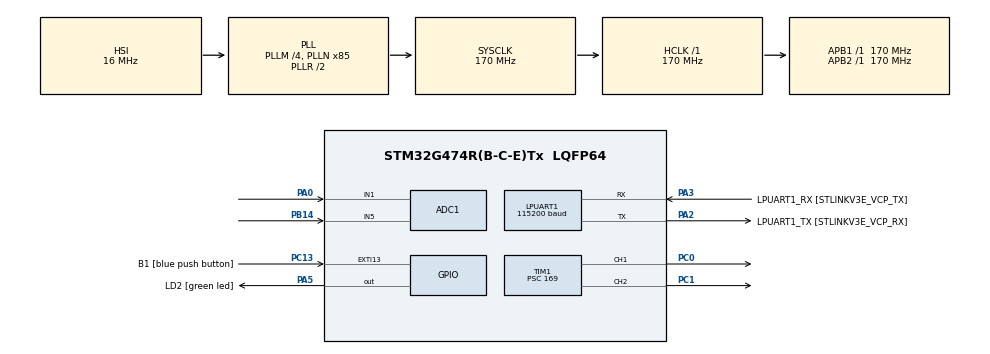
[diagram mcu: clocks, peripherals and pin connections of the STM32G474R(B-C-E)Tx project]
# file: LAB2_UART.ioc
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ADC1.Channel-4\#ChannelRegularConversion=ADC_CHANNEL_1
ADC1.Channel-5\#ChannelRegularConversion=ADC_CHANNEL_5
ADC1.NbrOfConversion=2
ADC1.NbrOfConversionFlag=1
ADC1.OffsetNumber-4\#ChannelRegularConversion=ADC_OFFSET_NONE
ADC1.OffsetNumber-5\#ChannelRegularConversion=ADC_OFFSET_NONE
ADC1.Rank-4\#ChannelRegularConversion=1
ADC1.Rank-5\#ChannelRegularConversion=2
ADC1.SamplingTime-4\#ChannelRegularConversion=ADC_SAMPLETIME_640CYCLES_5
ADC1.SamplingTime-5\#ChannelRegularConversion=ADC_SAMPLETIME_640CYCLES_5
ADC1.master=1
LPUART1.BaudRate=115200
LPUART1.WordLength=UART_WORDLENGTH_8B
Mcu.Family=STM32G4
Mcu.Name=STM32G474R(B-C-E)Tx
Mcu.Package=LQFP64
NVIC.EXTI15_10_IRQn=true\:0\:0\:false\:false\:true\:true\:true\:true
NVIC.LPUART1_IRQn=true\:0\:0\:false\:false\:true\:true\:true\:true
NVIC.PriorityGroup=NVIC_PRIORITYGROUP_4
NVIC.TIM5_IRQn=true\:0\:0\:false\:false\:true\:true\:true\:true
PA0.Mode=IN1-Single-Ended
PA0.Signal=ADC1_IN1
PA13.GPIO_Label=T_SWDIO
PA13.Mode=Serial_Wire
PA13.Signal=SYS_JTMS-SWDIO
PA14.GPIO_Label=T_SWCLK
PA14.Mode=Serial_Wire
PA14.Signal=SYS_JTCK-SWCLK
PA2.GPIO_Label=LPUART1_TX [STLINKV3E_VCP_RX]
PA2.Mode=Asynchronous
PA2.Signal=LPUART1_TX
PA3.GPIO_Label=LPUART1_RX [STLINKV3E_VCP_TX]
PA3.Mode=Asynchronous
PA3.Signal=LPUART1_RX
PA5.GPIO_Label=LD2 [green led]
PA5.Signal=GPIO_Output
PB14.Mode=IN5-Single-Ended
PB14.Signal=ADC1_IN5
PB3.GPIO_Label=T_SWO
PB3.Signal=SYS_JTDO-SWO
PC0.Signal=S_TIM1_CH1
PC1.Signal=S_TIM1_CH2
PC13.GPIO_Label=B1 [blue push button]
PC13.Signal=GPXTI13
PC14-OSC32_IN.Mode=LSE-External-Oscillator
PC14-OSC32_IN.Signal=RCC_OSC32_IN
PC15-OSC32_OUT.Mode=LSE-External-Oscillator
PC15-OSC32_OUT.Signal=RCC_OSC32_OUT
PF0-OSC_IN.Mode=HSE-External-Oscillator
PF0-OSC_IN.Signal=RCC_OSC_IN
PF1-OSC_OUT.Mode=HSE-External-Oscillator
PF1-OSC_OUT.Signal=RCC_OSC_OUT
ProjectManager.HeapSize=0x200
ProjectManager.StackSize=0x400
ProjectManager.TargetToolchain=STM32CubeIDE
RCC.ADC12Freq_Value=170000000
RCC.ADC345Freq_Value=170000000
RCC.AHBFreq_Value=170000000
RCC.APB1Freq_Value=170000000
RCC.APB1TimFreq_Value=170000000
RCC.APB2Freq_Value=170000000
RCC.APB2TimFreq_Value=170000000
RCC.CortexFreq_Value=170000000
RCC.EXTERNAL_CLOCK_VALUE=12288000
RCC.HCLKFreq_Value=170000000
RCC.HSE_VALUE=24000000
RCC.HSI48_VALUE=48000000
RCC.HSI_VALUE=16000000
RCC.PLLM=RCC_PLLM_DIV4
RCC.PLLN=85
RCC.RTCClockSelection=RCC_RTCCLKSOURCE_LSE
RCC.SYSCLKFreq_VALUE=170000000
RCC.SYSCLKSource=RCC_SYSCLKSOURCE_PLLCLK
RCC.USBFreq_Value=170000000
RCC.VCOOutputFreq_Value=340000000
SH.S_TIM1_CH1.0=TIM1_CH1,PWM Generation1 CH1
SH.S_TIM1_CH2.0=TIM1_CH2,PWM Generation2 CH2
TIM1.Channel-PWM\ Generation1\ CH1=TIM_CHANNEL_1
TIM1.Channel-PWM\ Generation2\ CH2=TIM_CHANNEL_2
TIM1.PeriodNoDither=32675
TIM1.Prescaler=169
TIM5.Prescaler=169
VP_SYS_VS_DBSignals.Mode=DisableDeadBatterySignals
VP_TIM1_VS_ClockSourceINT.Mode=Internal
VP_TIM5_VS_ClockSourceINT.Mode=Internal
board=NUCLEO-G474RE

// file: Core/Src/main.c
/* USER CODE BEGIN Header */
/**
  ******************************************************************************
  * @file           : main.c
  * @brief          : Main program body
  ******************************************************************************
  * @attention
  *
  * Copyright (c) 2024 STMicroelectronics.
  * All rights reserved.
  *
  * This software is licensed under terms that can be found in the LICENSE file
  * in the root directory of this software component.
  * If no LICENSE file comes with this software, it is provided AS-IS.
  *
  ******************************************************************************
  */
/* USER CODE END Header */
#include "main.h"

/* USER CODE BEGIN Includes */
#include "stdio.h"
#include "string.h"
/* USER CODE END Includes */

ADC_HandleTypeDef hadc1;

UART_HandleTypeDef hlpuart1;

TIM_HandleTypeDef htim1;
TIM_HandleTypeDef htim5;

/* USER CODE BEGIN PV */
//uint16_t ADC_RawRead[40] = {0};
//int ADC_sum[1] = {0};
uint16_t ADC_avg[1] = {0};
uint8_t ADCBytes[4];
uint16_t datasend;
int Degree_position = 0;
int Rad_position = 0;
uint8_t Recieve_PWM[5];
int16_t PWM1 = 0;
int PWM2 = 0;
uint64_t _micros = 0;
float setposition=0;
int poten1=0;
int poten2=0;
float position=0;
float error = 0;
float  FEEDBACK=0;
float speed;

struct _ADC_tag
{
ADC_ChannelConfTypeDef Config;
uint16_t data;
};
struct _ADC_tag ADC1_Channel[2] =
{
{
.Config.Channel = ADC_CHANNEL_1,
.Config.Rank = ADC_REGULAR_RANK_1,
.Config.SamplingTime = ADC_SAMPLETIME_640CYCLES_5,
.Config.SingleDiff = ADC_SINGLE_ENDED,
.Config.OffsetNumber = ADC_OFFSET_NONE,
.Config.Offset = 0,
.data = 0
},
{
.Config.Channel = ADC_CHANNEL_5,
.Config.Rank = ADC_REGULAR_RANK_2,
.Config.SamplingTime = ADC_SAMPLETIME_640CYCLES_5,
.Config.SingleDiff = ADC_SINGLE_ENDED,
.Config.OffsetNumber = ADC_OFFSET_NONE,
.Config.Offset = 0,
.data = 0
},
};
/* USER CODE END PV */

void SystemClock_Config(void);
static void MX_GPIO_Init(void);
static void MX_LPUART1_UART_Init(void);
static void MX_ADC1_Init(void);
static void MX_TIM1_Init(void);
static void MX_TIM5_Init(void);
/* USER CODE BEGIN PFP */
void ADC_Read_blocking();
void avg();
void UARTInterruptConfig();
uint64_t micros();
//void ADC_Read_blocking();
/* USER CODE END PFP */

int main(void)
{

  /* MCU Configuration--------------------------------------------------------*/

  /* Reset of all peripherals, Initializes the Flash interface and the Systick. */
  HAL_Init();

  /* Configure the system clock */
  SystemClock_Config();

  /* Initialize all configured peripherals */
  MX_GPIO_Init();
  MX_LPUART1_UART_Init();
  MX_ADC1_Init();
  MX_TIM1_Init();
  MX_TIM5_Init();
  /* USER CODE BEGIN 2 */
  HAL_ADCEx_Calibration_Start(&hadc1, ADC_SINGLE_ENDED);

  HAL_TIM_Base_Start(&htim1);
  HAL_TIM_PWM_Start(&htim1, TIM_CHANNEL_1);
  HAL_TIM_PWM_Start(&htim1, TIM_CHANNEL_2);
  UARTInterruptConfig();
  HAL_TIM_Base_Start_IT(&htim5);

  /* USER CODE END 2 */

  /* Infinite loop */
  while (1)
  {

    /* USER CODE BEGIN 3 */
	  ADC_Read_blocking();
	  avg();
	  error = 2048.0 - position;
	  ADC_avg[0] = position;
	  datasend=ADC_avg[0];

	  static uint64_t timestamp = 0;
	  uint64_t currentTime = micros();

	  if(currentTime > timestamp)
	  {
		  timestamp = currentTime + 5000; //us 200 Hz
		  datasend = ADC_avg[0];

		  ADCBytes[0] = 0x45; //Header
		  ADCBytes[1] = (uint8_t)(datasend & 0xFF); // Lower byte
		  ADCBytes[2] = (uint8_t)((datasend >> 8) & 0xFF); // Upper byte
		  ADCBytes[3] = 0x0A; //Terminater

		  HAL_UART_Transmit(&hlpuart1, ADCBytes , sizeof(ADCBytes), 10);
	  }
	  UARTInterruptConfig();
	  Degree_position = (datasend*360.0)/4095.0;
	  Rad_position = (datasend*3.14)/4095.0;
	  PWM1 = (int16_t)(Recieve_PWM[2]<< 8) + Recieve_PWM[1];
	  FEEDBACK =PWM1;
	  PWM2 = (int16_t)((PWM1*65535)/4095);

	  if(error > 0)
	  {

		  __HAL_TIM_SET_COMPARE(&htim1, TIM_CHANNEL_1,0);
		  __HAL_TIM_SET_COMPARE(&htim1, TIM_CHANNEL_2,PWM1);
	  }
	  else if(error < 0)
	  {

		  __HAL_TIM_SET_COMPARE(&htim1, TIM_CHANNEL_1, PWM1);
		  __HAL_TIM_SET_COMPARE(&htim1, TIM_CHANNEL_2, 0);
	  }
	  else if(error==0 )
	  	  {
	  		  __HAL_TIM_SET_COMPARE(&htim1, TIM_CHANNEL_1, 0);
	  		  __HAL_TIM_SET_COMPARE(&htim1, TIM_CHANNEL_2, 0);
	  	  }
  }
  /* USER CODE END 3 */
}

void SystemClock_Config(void)
{
  RCC_OscInitTypeDef RCC_OscInitStruct = {0};
  RCC_ClkInitTypeDef RCC_ClkInitStruct = {0};

  /** Configure the main internal regulator output voltage
  */
  HAL_PWREx_ControlVoltageScaling(PWR_REGULATOR_VOLTAGE_SCALE1_BOOST);

  /** Initializes the RCC Oscillators according to the specified parameters
  * in the RCC_OscInitTypeDef structure.
  */
  RCC_OscInitStruct.OscillatorType = RCC_OSCILLATORTYPE_HSI;
  RCC_OscInitStruct.HSIState = RCC_HSI_ON;
  RCC_OscInitStruct.HSICalibrationValue = RCC_HSICALIBRATION_DEFAULT;
  RCC_OscInitStruct.PLL.PLLState = RCC_PLL_ON;
  RCC_OscInitStruct.PLL.PLLSource = RCC_PLLSOURCE_HSI;
  RCC_OscInitStruct.PLL.PLLM = RCC_PLLM_DIV4;
  RCC_OscInitStruct.PLL.PLLN = 85;
  RCC_OscInitStruct.PLL.PLLP = RCC_PLLP_DIV2;
  RCC_OscInitStruct.PLL.PLLQ = RCC_PLLQ_DIV2;
  RCC_OscInitStruct.PLL.PLLR = RCC_PLLR_DIV2;
  if (HAL_RCC_OscConfig(&RCC_OscInitStruct) != HAL_OK)
  {
    Error_Handler();
  }

  /** Initializes the CPU, AHB and APB buses clocks
  */
  RCC_ClkInitStruct.ClockType = RCC_CLOCKTYPE_HCLK|RCC_CLOCKTYPE_SYSCLK
                              |RCC_CLOCKTYPE_PCLK1|RCC_CLOCKTYPE_PCLK2;
  RCC_ClkInitStruct.SYSCLKSource = RCC_SYSCLKSOURCE_PLLCLK;
  RCC_ClkInitStruct.AHBCLKDivider = RCC_SYSCLK_DIV1;
  RCC_ClkInitStruct.APB1CLKDivider = RCC_HCLK_DIV1;
  RCC_ClkInitStruct.APB2CLKDivider = RCC_HCLK_DIV1;

  if (HAL_RCC_ClockConfig(&RCC_ClkInitStruct, FLASH_LATENCY_4) != HAL_OK)
  {
    Error_Handler();
  }
}

static void MX_ADC1_Init(void)
{

  ADC_MultiModeTypeDef multimode = {0};
  ADC_ChannelConfTypeDef sConfig = {0};

  /** Common config
  */
  hadc1.Instance = ADC1;
  hadc1.Init.ClockPrescaler = ADC_CLOCK_SYNC_PCLK_DIV4;
  hadc1.Init.Resolution = ADC_RESOLUTION_12B;
  hadc1.Init.DataAlign = ADC_DATAALIGN_RIGHT;
  hadc1.Init.GainCompensation = 0;
  hadc1.Init.ScanConvMode = ADC_SCAN_ENABLE;
  hadc1.Init.EOCSelection = ADC_EOC_SINGLE_CONV;
  hadc1.Init.LowPowerAutoWait = DISABLE;
  hadc1.Init.ContinuousConvMode = DISABLE;
  hadc1.Init.NbrOfConversion = 2;
  hadc1.Init.DiscontinuousConvMode = DISABLE;
  hadc1.Init.ExternalTrigConv = ADC_SOFTWARE_START;
  hadc1.Init.ExternalTrigConvEdge = ADC_EXTERNALTRIGCONVEDGE_NONE;
  hadc1.Init.DMAContinuousRequests = DISABLE;
  hadc1.Init.Overrun = ADC_OVR_DATA_PRESERVED;
  hadc1.Init.OversamplingMode = DISABLE;
  if (HAL_ADC_Init(&hadc1) != HAL_OK)
  {
    Error_Handler();
  }

  /** Configure the ADC multi-mode
  */
  multimode.Mode = ADC_MODE_INDEPENDENT;
  if (HAL_ADCEx_MultiModeConfigChannel(&hadc1, &multimode) != HAL_OK)
  {
    Error_Handler();
  }

  /** Configure Regular Channel
  */
  sConfig.Channel = ADC_CHANNEL_1;
  sConfig.Rank = ADC_REGULAR_RANK_1;
  sConfig.SamplingTime = ADC_SAMPLETIME_640CYCLES_5;
  sConfig.SingleDiff = ADC_SINGLE_ENDED;
  sConfig.OffsetNumber = ADC_OFFSET_NONE;
  sConfig.Offset = 0;
  if (HAL_ADC_ConfigChannel(&hadc1, &sConfig) != HAL_OK)
  {
    Error_Handler();
  }

  /** Configure Regular Channel
  */
  sConfig.Channel = ADC_CHANNEL_5;
  sConfig.Rank = ADC_REGULAR_RANK_2;
  if (HAL_ADC_ConfigChannel(&hadc1, &sConfig) != HAL_OK)
  {
    Error_Handler();
  }

}

static void MX_LPUART1_UART_Init(void)
{

  hlpuart1.Instance = LPUART1;
  hlpuart1.Init.BaudRate = 115200;
  hlpuart1.Init.WordLength = UART_WORDLENGTH_8B;
  hlpuart1.Init.StopBits = UART_STOPBITS_1;
  hlpuart1.Init.Parity = UART_PARITY_NONE;
  hlpuart1.Init.Mode = UART_MODE_TX_RX;
  hlpuart1.Init.HwFlowCtl = UART_HWCONTROL_NONE;
  hlpuart1.Init.OneBitSampling = UART_ONE_BIT_SAMPLE_DISABLE;
  hlpuart1.Init.ClockPrescaler = UART_PRESCALER_DIV1;
  hlpuart1.AdvancedInit.AdvFeatureInit = UART_ADVFEATURE_NO_INIT;
  if (HAL_UART_Init(&hlpuart1) != HAL_OK)
  {
    Error_Handler();
  }
  if (HAL_UARTEx_SetTxFifoThreshold(&hlpuart1, UART_TXFIFO_THRESHOLD_1_8) != HAL_OK)
  {
    Error_Handler();
  }
  if (HAL_UARTEx_SetRxFifoThreshold(&hlpuart1, UART_RXFIFO_THRESHOLD_1_8) != HAL_OK)
  {
    Error_Handler();
  }
  if (HAL_UARTEx_DisableFifoMode(&hlpuart1) != HAL_OK)
  {
    Error_Handler();
  }

}

static void MX_TIM1_Init(void)
{

  TIM_ClockConfigTypeDef sClockSourceConfig = {0};
  TIM_MasterConfigTypeDef sMasterConfig = {0};
  TIM_OC_InitTypeDef sConfigOC = {0};
  TIM_BreakDeadTimeConfigTypeDef sBreakDeadTimeConfig = {0};

  htim1.Instance = TIM1;
  htim1.Init.Prescaler = 169;
  htim1.Init.CounterMode = TIM_COUNTERMODE_UP;
  htim1.Init.Period = 32675;
  htim1.Init.ClockDivision = TIM_CLOCKDIVISION_DIV1;
  htim1.Init.RepetitionCounter = 0;
  htim1.Init.AutoReloadPreload = TIM_AUTORELOAD_PRELOAD_DISABLE;
  if (HAL_TIM_Base_Init(&htim1) != HAL_OK)
  {
    Error_Handler();
  }
  sClockSourceConfig.ClockSource = TIM_CLOCKSOURCE_INTERNAL;
  if (HAL_TIM_ConfigClockSource(&htim1, &sClockSourceConfig) != HAL_OK)
  {
    Error_Handler();
  }
  if (HAL_TIM_PWM_Init(&htim1) != HAL_OK)
  {
    Error_Handler();
  }
  sMasterConfig.MasterOutputTrigger = TIM_TRGO_RESET;
  sMasterConfig.MasterOutputTrigger2 = TIM_TRGO2_RESET;
  sMasterConfig.MasterSlaveMode = TIM_MASTERSLAVEMODE_DISABLE;
  if (HAL_TIMEx_MasterConfigSynchronization(&htim1, &sMasterConfig) != HAL_OK)
  {
    Error_Handler();
  }
  sConfigOC.OCMode = TIM_OCMODE_PWM1;
  sConfigOC.Pulse = 0;
  sConfigOC.OCPolarity = TIM_OCPOLARITY_HIGH;
  sConfigOC.OCNPolarity = TIM_OCNPOLARITY_HIGH;
  sConfigOC.OCFastMode = TIM_OCFAST_DISABLE;
  sConfigOC.OCIdleState = TIM_OCIDLESTATE_RESET;
  sConfigOC.OCNIdleState = TIM_OCNIDLESTATE_RESET;
  if (HAL_TIM_PWM_ConfigChannel(&htim1, &sConfigOC, TIM_CHANNEL_1) != HAL_OK)
  {
    Error_Handler();
  }
  if (HAL_TIM_PWM_ConfigChannel(&htim1, &sConfigOC, TIM_CHANNEL_2) != HAL_OK)
  {
    Error_Handler();
  }
  sBreakDeadTimeConfig.OffStateRunMode = TIM_OSSR_DISABLE;
  sBreakDeadTimeConfig.OffStateIDLEMode = TIM_OSSI_DISABLE;
  sBreakDeadTimeConfig.LockLevel = TIM_LOCKLEVEL_OFF;
  sBreakDeadTimeConfig.DeadTime = 0;
  sBreakDeadTimeConfig.BreakState = TIM_BREAK_DISABLE;
  sBreakDeadTimeConfig.BreakPolarity = TIM_BREAKPOLARITY_HIGH;
  sBreakDeadTimeConfig.BreakFilter = 0;
  sBreakDeadTimeConfig.BreakAFMode = TIM_BREAK_AFMODE_INPUT;
  sBreakDeadTimeConfig.Break2State = TIM_BREAK2_DISABLE;
  sBreakDeadTimeConfig.Break2Polarity = TIM_BREAK2POLARITY_HIGH;
  sBreakDeadTimeConfig.Break2Filter = 0;
  sBreakDeadTimeConfig.Break2AFMode = TIM_BREAK_AFMODE_INPUT;
  sBreakDeadTimeConfig.AutomaticOutput = TIM_AUTOMATICOUTPUT_DISABLE;
  if (HAL_TIMEx_ConfigBreakDeadTime(&htim1, &sBreakDeadTimeConfig) != HAL_OK)
  {
    Error_Handler();
  }
  HAL_TIM_MspPostInit(&htim1);

}

static void MX_TIM5_Init(void)
{

  TIM_ClockConfigTypeDef sClockSourceConfig = {0};
  TIM_MasterConfigTypeDef sMasterConfig = {0};

  htim5.Instance = TIM5;
  htim5.Init.Prescaler = 169;
  htim5.Init.CounterMode = TIM_COUNTERMODE_UP;
  htim5.Init.Period = 4294967295;
  htim5.Init.ClockDivision = TIM_CLOCKDIVISION_DIV1;
  htim5.Init.AutoReloadPreload = TIM_AUTORELOAD_PRELOAD_DISABLE;
  if (HAL_TIM_Base_Init(&htim5) != HAL_OK)
  {
    Error_Handler();
  }
  sClockSourceConfig.ClockSource = TIM_CLOCKSOURCE_INTERNAL;
  if (HAL_TIM_ConfigClockSource(&htim5, &sClockSourceConfig) != HAL_OK)
  {
    Error_Handler();
  }
  sMasterConfig.MasterOutputTrigger = TIM_TRGO_RESET;
  sMasterConfig.MasterSlaveMode = TIM_MASTERSLAVEMODE_DISABLE;
  if (HAL_TIMEx_MasterConfigSynchronization(&htim5, &sMasterConfig) != HAL_OK)
  {
    Error_Handler();
  }

}

static void MX_GPIO_Init(void)
{
  GPIO_InitTypeDef GPIO_InitStruct = {0};

  /* GPIO Ports Clock Enable */
  __HAL_RCC_GPIOC_CLK_ENABLE();
  __HAL_RCC_GPIOF_CLK_ENABLE();
  __HAL_RCC_GPIOA_CLK_ENABLE();
  __HAL_RCC_GPIOB_CLK_ENABLE();

  /*Configure GPIO pin Output Level */
  HAL_GPIO_WritePin(LD2_GPIO_Port, LD2_Pin, GPIO_PIN_RESET);

  /*Configure GPIO pin : B1_Pin */
  GPIO_InitStruct.Pin = B1_Pin;
  GPIO_InitStruct.Mode = GPIO_MODE_IT_RISING;
  GPIO_InitStruct.Pull = GPIO_NOPULL;
  HAL_GPIO_Init(B1_GPIO_Port, &GPIO_InitStruct);

  /*Configure GPIO pin : LD2_Pin */
  GPIO_InitStruct.Pin = LD2_Pin;
  GPIO_InitStruct.Mode = GPIO_MODE_OUTPUT_PP;
  GPIO_InitStruct.Pull = GPIO_NOPULL;
  GPIO_InitStruct.Speed = GPIO_SPEED_FREQ_LOW;
  HAL_GPIO_Init(LD2_GPIO_Port, &GPIO_InitStruct);

  /* EXTI interrupt init*/
  HAL_NVIC_SetPriority(EXTI15_10_IRQn, 0, 0);
  HAL_NVIC_EnableIRQ(EXTI15_10_IRQn);

}

/* USER CODE BEGIN 4 */
void ADC_Read_blocking()
{
static uint32_t TimeStamp = 0;
if( HAL_GetTick()<TimeStamp) return;
TimeStamp = HAL_GetTick()+1;
for(int i=0;i<2;i++)
{
HAL_ADC_ConfigChannel(&hadc1, &ADC1_Channel[i].Config);
HAL_ADC_Start(&hadc1);
HAL_ADC_PollForConversion(&hadc1, 100);
ADC1_Channel[i].data = HAL_ADC_GetValue(&hadc1);
HAL_ADC_Stop(&hadc1);
}
}

void avg()
{

         setposition =((poten2/20.0)/4095.0)*360.0;
         position= ADC1_Channel[0].data;

}
void UARTInterruptConfig()
{
	HAL_UART_Receive_IT(&hlpuart1, Recieve_PWM, 4);
}
void HAL_UART_RxCpltCallback(UART_HandleTypeDef *huart)
{
	if(huart == &hlpuart1)
	{
		Recieve_PWM[4] = '\0';
		HAL_UART_Receive_IT(&hlpuart1, Recieve_PWM, 4);
	}
}
//MicroSecondTimer Implement
void HAL_TIM_PeriodElapsedCallback(TIM_HandleTypeDef *htim)
{
	if(htim == &htim5)
	{
		_micros += UINT32_MAX;
	}
}
uint64_t micros()
{
	return __HAL_TIM_GET_COUNTER(&htim5)+_micros;
}
/* USER CODE END 4 */

void Error_Handler(void)
{
  __disable_irq();
  while (1)
  {
  }
}
